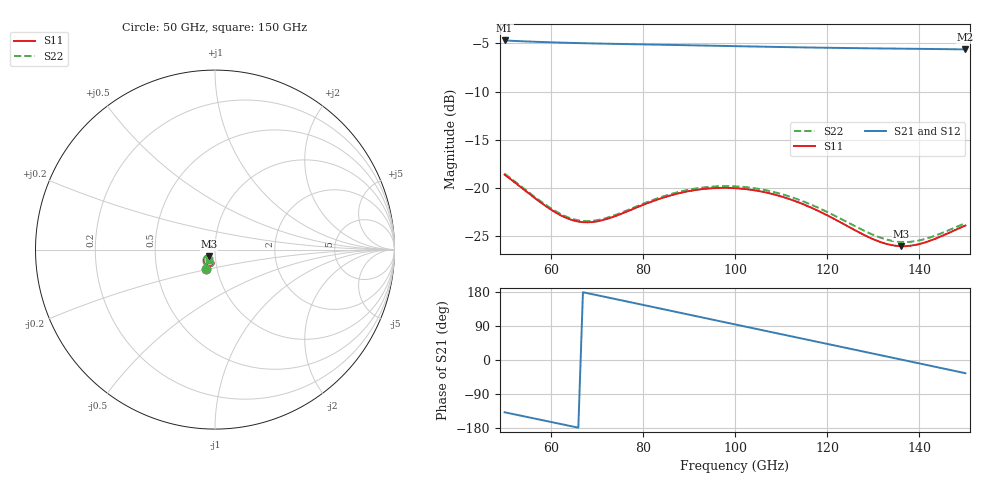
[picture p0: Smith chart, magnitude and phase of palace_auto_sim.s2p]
#  GHZ S DB R 50
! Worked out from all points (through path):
!   101 points, 50 GHz to 150 GHz, reference 50 ohm
!   highest |S21| = -4.71 dB at 50 GHz (marker M1); lowest = -5.6 dB at 150 GHz (marker M2)
!   group delay of S21, straight-line fit = 7.14 ps
!   lowest |S11| = -26.0 dB at 136 GHz (marker M3), VSWR 1.11, Z = 46.6 - j3.49 ohm
!   |S11| at or under -10 dB: start of sweep to end of sweep
!   |S22| runs from -25.6 to -18.5 dB; largest |S21 - S12| = 9.3e-14
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50  -18.60 -115.4  -4.71 -138.0  -4.71 -138.0  -18.51 -115.5
55  -20.45 -118.1  -4.81 -150.7  -4.81 -150.7  -20.34 -118.2
59  -21.88 -116.8  -4.88 -160.8  -4.88 -160.8  -21.76 -117.0
63  -23.00 -112.2  -4.94 -171.0  -4.94 -171.0  -22.87 -112.5
67  -23.52 -105.5  -4.99 178.8  -4.99 178.8  -23.40 -105.9
71  -23.35 -99.4  -5.03 168.6  -5.03 168.6  -23.23 -99.7
75  -22.72 -96.0  -5.07 158.4  -5.07 158.4  -22.60 -96.3
79  -21.94 -95.7  -5.11 148.1  -5.11 148.1  -21.82 -95.8
84  -21.05 -98.7  -5.15 135.2  -5.15 135.2  -20.92 -98.7
92  -20.16 -108.2  -5.22 114.6  -5.22 114.6  -20.00 -108.0
96  -19.99 -114.0  -5.26 104.3  -5.26 104.3  -19.81 -113.7
100  -20.01 -120.0  -5.30 93.9  -5.30 93.9  -19.81 -119.6
104  -20.21 -126.0  -5.33 83.6  -5.33 83.6  -19.99 -125.5
108  -20.60 -131.6  -5.37 73.3  -5.37 73.3  -20.35 -131.1
112  -21.16 -136.7  -5.40 63.1  -5.40 63.1  -20.89 -136.2
117  -22.12 -141.8  -5.44 50.2  -5.44 50.2  -21.80 -141.2
126  -24.35 -144.1  -5.50 27.1  -5.50 27.1  -23.93 -143.7
134  -25.90 -135.3  -5.55 6.5  -5.55 6.5  -25.45 -135.7
136  -26.01 -131.9  -5.56 1.3  -5.56 1.3  -25.57 -132.6
139  -25.90 -126.9  -5.57 -6.4  -5.57 -6.4  -25.50 -127.8
143  -25.33 -121.8  -5.59 -16.7  -5.59 -16.7  -25.00 -122.8
150  -23.87 -119.3  -5.63 -34.9  -5.63 -34.9  -23.62 -120.0
